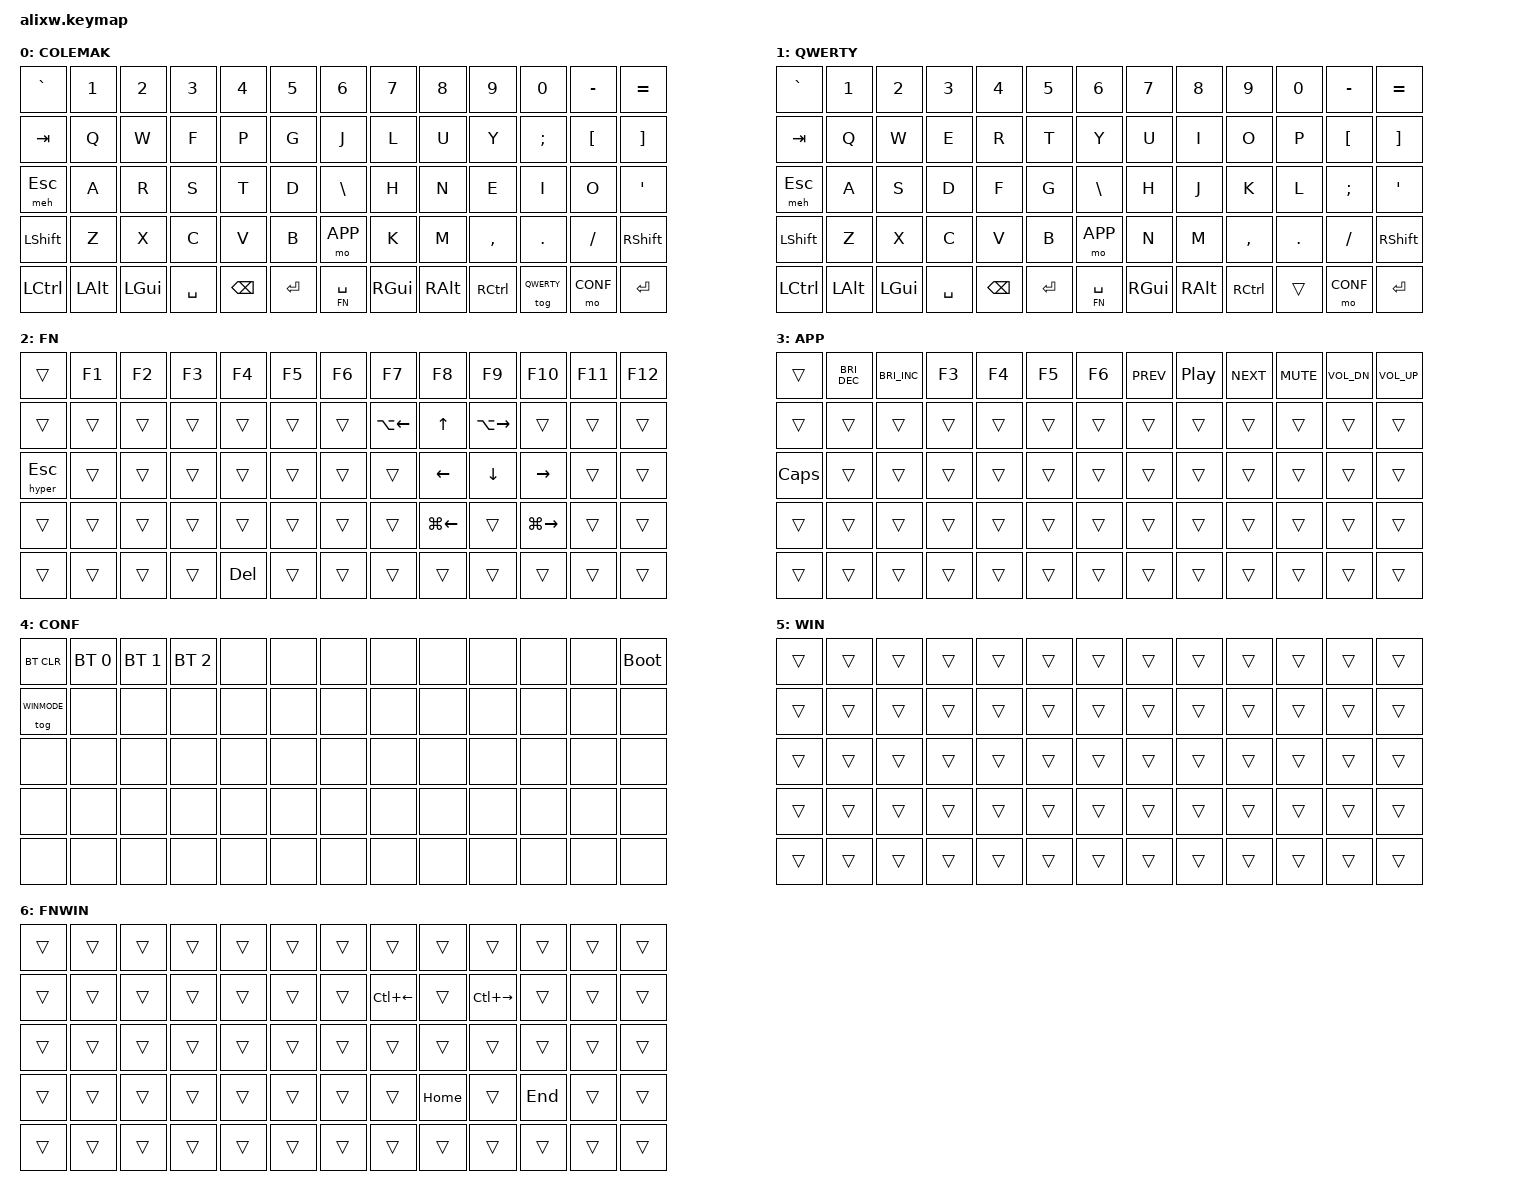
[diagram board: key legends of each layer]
#include <behaviors.dtsi>
#include <dt-bindings/zmk/keys.h>
#include <dt-bindings/zmk/bt.h>

#define COLEMAK 0
#define QWERTY 1
#define FN 2
#define APP 3
#define CONF 4
// OS switch. ZMK cannot detect the host OS (zmkfirmware/zmk#2553 is still open,
// and over BLE there is no USB enumeration to fingerprint), so this is manual.
// WINMODE is a flag layer -- every key is &trans, so toggling it changes nothing
// on its own. It only matters in combination with FN, via conditional-layers
// below. Default (WINMODE off) is macOS, matching the FN layer as written.
// Layer state is not persisted, so this resets to macOS on every power cycle.
#define WINMODE 5
#define FN_WIN 6

/ {
    // Holding FN while WINMODE is toggled on activates FN_WIN, whose only
    // non-&trans keys are the ones that differ between macOS and Windows/Linux.
    // then-layer must outrank its if-layers, since ZMK resolves the highest
    // active layer first -- hence FN_WIN (6) > FN (2) and WINMODE (5).
    conditional_layers {
        compatible = "zmk,conditional-layers";

        fn_win {
            if-layers = <FN WINMODE>;
            then-layer = <FN_WIN>;
        };
    };

    behaviors {
        tap_hold_layer: tap_hold_layer {
            compatible = "zmk,behavior-hold-tap";
            label = "TAP_HOLD_LAYER";
            #binding-cells = <2>;
            tapping-term-ms = <200>;
            quick-tap-ms = <200>;
            flavor = "balanced";
            bindings = <&mo>, <&kp>;
        };

        tap_meh: tap_meh {
            compatible = "zmk,behavior-hold-tap";
            label = "TAP_MEH";
            #binding-cells = <2>;
            tapping-term-ms = <200>;
            quick-tap-ms = <200>;
            flavor = "balanced";
            bindings = <&meh>, <&kp>;
        };

        tap_hyper: tap_hyper {
            compatible = "zmk,behavior-hold-tap";
            label = "TAP_HYPER";
            #binding-cells = <2>;
            tapping-term-ms = <200>;
            quick-tap-ms = <200>;
            flavor = "balanced";
            bindings = <&hyper>, <&kp>;
        };
    };

    macros {
        meh: meh {
            compatible = "zmk,behavior-macro";
            #binding-cells = <0>;
            bindings
                = <&macro_press &kp LSHFT &kp LCTRL &kp LALT>
                , <&macro_pause_for_release>
                , <&macro_release &kp LSHFT &kp LCTRL &kp LALT>
                ;
        };

        hyper: hyper {
            compatible = "zmk,behavior-macro";
            #binding-cells = <0>;
            bindings
                = <&macro_press &kp LSHFT &kp LCTRL &kp LALT &kp LGUI>
                , <&macro_pause_for_release>
                , <&macro_release &kp LSHFT &kp LCTRL &kp LALT &kp LGUI>
                ;
        };

        mac_alt_left: mac_alt_left {
            compatible = "zmk,behavior-macro";
            #binding-cells = <0>;
            bindings
                = <&macro_press &kp LALT>
                , <&macro_tap &kp LEFT>
                , <&macro_release &kp LALT>
                ;
        };

        mac_alt_right: mac_alt_right {
            compatible = "zmk,behavior-macro";
            #binding-cells = <0>;
            bindings
                = <&macro_press &kp LALT>
                , <&macro_tap &kp RIGHT>
                , <&macro_release &kp LALT>
                ;
        };

        mac_cmd_left: mac_cmd_left {
            compatible = "zmk,behavior-macro";
            #binding-cells = <0>;
            bindings
                = <&macro_press &kp LGUI>
                , <&macro_tap &kp LEFT>
                , <&macro_release &kp LGUI>
                ;
        };
        mac_cmd_right: mac_cmd_right {
            compatible = "zmk,behavior-macro";
            #binding-cells = <0>;
            bindings
                = <&macro_press &kp LGUI>
                , <&macro_tap &kp RIGHT>
                , <&macro_release &kp LGUI>
                ;
        };
        mac_cmd_up: mac_cmd_up {
            compatible = "zmk,behavior-macro";
            #binding-cells = <0>;
            bindings
                = <&macro_press &kp LGUI>
                , <&macro_tap &kp UP>
                , <&macro_release &kp LGUI>
                ;
        };
        mac_cmd_down: mac_cmd_down {
            compatible = "zmk,behavior-macro";
            #binding-cells = <0>;
            bindings
                = <&macro_press &kp LGUI>
                , <&macro_tap &kp DOWN>
                , <&macro_release &kp LGUI>
                ;
        };
    };

    keymap {
        compatible = "zmk,keymap";

        default_layer { // colemak
            display-name = "COLEMAK";
            bindings = <
                &kp GRAVE      &kp N1    &kp N2    &kp N3     &kp N4   &kp N5     &kp N6                   &kp N7    &kp N8    &kp N9     &kp N0   &kp MINUS  &kp EQUAL
                &kp TAB        &kp Q     &kp W     &kp F      &kp P    &kp G      &kp J                    &kp L     &kp U     &kp Y      &kp SEMI &kp LBKT   &kp RBKT
                &tap_meh 0 ESC &kp A     &kp R     &kp S      &kp T    &kp D      &kp BSLH                 &kp H     &kp N     &kp E      &kp I    &kp O      &kp SQT
                &kp LSHFT      &kp Z     &kp X     &kp C      &kp V    &kp B      &mo APP                  &kp K     &kp M     &kp COMMA  &kp DOT  &kp SLASH  &kp RSHFT
                &kp LCTRL      &kp LALT  &kp LGUI  &kp SPACE            &kp BSPC             &kp ENTER &tap_hold_layer FN SPACE &kp RGUI  &kp RALT  &kp RCTRL  &tog QWERTY  &mo CONF   &kp ENTER
            >;
        };
        qwerty_layer { // qwerty
            display-name = "QWERTY";
            bindings = <
                &kp GRAVE      &kp N1    &kp N2    &kp N3     &kp N4   &kp N5       &kp N6                   &kp N7    &kp N8    &kp N9     &kp N0   &kp MINUS  &kp EQUAL
                &kp TAB        &kp Q     &kp W     &kp E      &kp R    &kp T        &kp Y                    &kp U     &kp I     &kp O      &kp P    &kp LBKT   &kp RBKT
                &tap_meh 0 ESC &kp A     &kp S     &kp D      &kp F    &kp G        &kp BSLH                 &kp H     &kp J     &kp K      &kp L    &kp SEMI   &kp SQT
                &kp LSHFT      &kp Z     &kp X     &kp C      &kp V    &kp B        &mo APP                  &kp N     &kp M     &kp COMMA  &kp DOT  &kp SLASH  &kp RSHFT
                &kp LCTRL      &kp LALT  &kp LGUI  &kp SPACE             &kp BSPC            &kp ENTER &tap_hold_layer FN SPACE &kp RGUI  &kp RALT  &kp RCTRL  &trans &mo CONF  &kp ENTER
            >;
        };


        fn_layer { // fn
            display-name = "FN";
            bindings = <
                &trans           &kp F1    &kp F2    &kp F3     &kp F4  &kp F5     &kp F6    &kp F7        &kp F8         &kp F9         &kp F10         &kp F11  &kp F12
                &trans           &trans    &trans    &trans     &trans  &trans     &trans    &kp LA(LEFT)  &kp UP         &kp LA(RIGHT)  &trans          &trans   &trans
                &tap_hyper 0 ESC &trans    &trans    &trans     &trans  &trans     &trans    &trans        &kp LEFT       &kp DOWN       &kp RIGHT       &trans   &trans
                &trans           &trans    &trans    &trans     &trans  &trans     &trans    &trans        &kp LG(LEFT)   &trans         &kp LG(RIGHT)   &trans   &trans
                &trans           &trans    &trans    &trans     &kp DEL &trans     &trans    &trans        &trans         &trans         &trans          &trans   &trans
            >;
        };

        app_layer { // app
            display-name = "APP";
            bindings = <
                &trans   &kp C_BRI_DEC  &kp C_BRI_INC  &kp F3  &kp F4  &kp F5  &kp F6   &kp C_PREV  &kp C_PP  &kp C_NEXT  &kp K_MUTE  &kp C_VOL_DN  &kp C_VOL_UP
                &trans   &trans         &trans         &trans  &trans  &trans  &trans   &trans      &trans    &trans      &trans      &trans        &trans
                &kp CAPS &trans         &trans         &trans  &trans  &trans  &trans   &trans      &trans    &trans      &trans      &trans        &trans
                &trans   &trans         &trans         &trans  &trans  &trans  &trans   &trans      &trans    &trans      &trans      &trans        &trans
                &trans   &trans         &trans         &trans  &trans  &trans  &trans   &trans      &trans    &trans      &trans      &trans        &trans
            >;
        };

        conf_layer { // config
            display-name = "CONF";
            bindings = <
                &bt BT_CLR  &bt BT_SEL 0  &bt BT_SEL 1  &bt BT_SEL 2  &none  &none  &none  &none  &none  &none  &none  &none  &bootloader
                &tog WINMODE &none        &none         &none         &none  &none  &none  &none  &none  &none  &none  &none  &none
                &none       &none         &none         &none         &none  &none  &none  &none  &none  &none  &none  &none  &none
                &none       &none         &none         &none         &none  &none  &none  &none  &none  &none  &none  &none  &none
                &none       &none         &none         &none         &none  &none  &none  &none  &none  &none  &none  &none  &none
            >;
        };

        // Flag layer only -- deliberately all &trans so that toggling it has no
        // effect by itself. Its whole job is to be the second if-layer of the
        // fn_win conditional layer above.
        winmode_layer { // windows/linux mode flag
            display-name = "WIN";
            bindings = <
                &trans  &trans  &trans  &trans  &trans  &trans  &trans  &trans  &trans  &trans  &trans  &trans  &trans
                &trans  &trans  &trans  &trans  &trans  &trans  &trans  &trans  &trans  &trans  &trans  &trans  &trans
                &trans  &trans  &trans  &trans  &trans  &trans  &trans  &trans  &trans  &trans  &trans  &trans  &trans
                &trans  &trans  &trans  &trans  &trans  &trans  &trans  &trans  &trans  &trans  &trans  &trans  &trans
                &trans  &trans  &trans  &trans  &trans  &trans  &trans  &trans  &trans  &trans  &trans  &trans  &trans
            >;
        };

        // Windows/Linux overrides for the FN layer. Everything not listed here
        // is &trans and falls through to fn_layer.
        //   row 2: word nav      -- macOS Alt+arrow  -> Ctrl+arrow
        //   row 4: line home/end -- macOS Cmd+arrow  -> Home / End
        //          (Win+arrow snaps windows on Windows, so leaving LG() would
        //           be actively wrong rather than merely useless)
        fn_win_layer { // fn overrides for windows/linux
            display-name = "FNWIN";
            bindings = <
                &trans  &trans  &trans  &trans  &trans  &trans  &trans  &trans        &trans  &trans         &trans  &trans  &trans
                &trans  &trans  &trans  &trans  &trans  &trans  &trans  &kp LC(LEFT)  &trans  &kp LC(RIGHT)  &trans  &trans  &trans
                &trans  &trans  &trans  &trans  &trans  &trans  &trans  &trans        &trans  &trans         &trans  &trans  &trans
                &trans  &trans  &trans  &trans  &trans  &trans  &trans  &trans        &kp HOME &trans        &kp END &trans  &trans
                &trans  &trans  &trans  &trans  &trans  &trans  &trans  &trans        &trans  &trans         &trans  &trans  &trans
            >;
        };
    };
};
